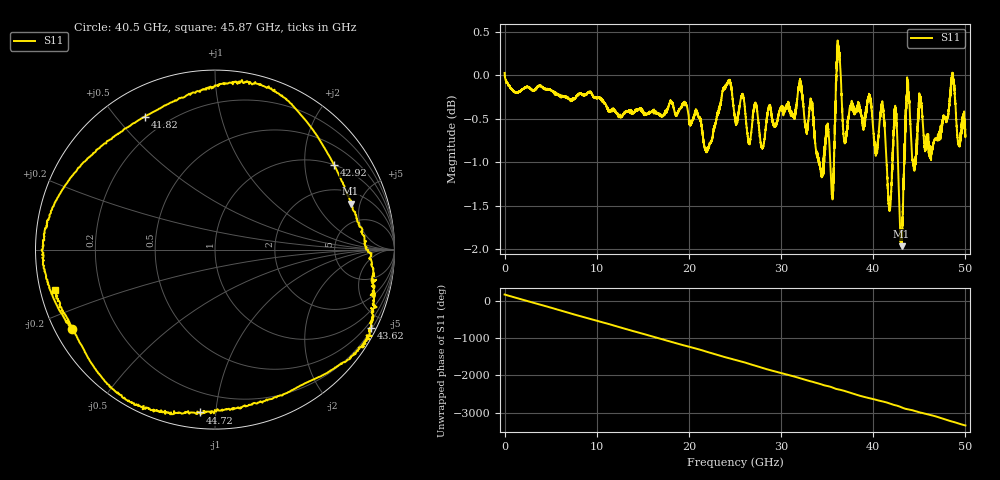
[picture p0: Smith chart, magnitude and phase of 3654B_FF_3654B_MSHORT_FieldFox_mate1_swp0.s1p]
!Created with skrf (http://scikit-rf.org).
# Hz S RI R 50.0
!freq ReS11 ImS11
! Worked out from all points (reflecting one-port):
!   10000 points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, 5.3 MHz to 50 GHz, reference 50 ohm
!   lowest |S11| = -2.0 dB at 43.07 GHz (marker M1), VSWR 8.89, Z = 145 + j204 ohm
!   phase of S11 starts at 180 deg and turns -3528 deg over the sweep
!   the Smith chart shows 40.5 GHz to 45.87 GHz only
!   S11 on the Smith chart (normalised r, x): 40.5 GHz: 0.05, -0.26; 41.82 GHz: 0.12, +0.60; 42.92 GHz: 0.99, +2.81; 43.62 GHz: 0.26, -4.22; 44.72 GHz: 0.08, -0.91; 45.87 GHz: 0.04, -0.12
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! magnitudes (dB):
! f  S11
! 5.3 MHz  0.0
! 6.255 GHz  -0.2
! 12.51 GHz  -0.5
! 18.76 GHz  -0.4
! 21.92 GHz  -0.9
! 24.19 GHz  -0.1
! 25.01 GHz  -0.5
! 31.26 GHz  -0.5
! 32.11 GHz  -0.1
! 35.52 GHz  -1.4
! 36.2 GHz  0.3
! 36.9 GHz  -0.8
! 37.51 GHz  -0.4
! 40.5 GHz  -0.8
! 41.05 GHz  -0.4
! 41.82 GHz  -1.5
! 42.41 GHz  -0.4
! 42.92 GHz  -1.8
! 43.07 GHz  -2.0
! 43.62 GHz  -0.2
! 43.76 GHz  -0.2
! 44.36 GHz  -1.0
! 44.72 GHz  -0.8
! 45.1 GHz  -0.2
! 45.87 GHz  -0.7
! 48.6 GHz  0.0
! 49.27 GHz  -0.8
! 50 GHz  -0.7
